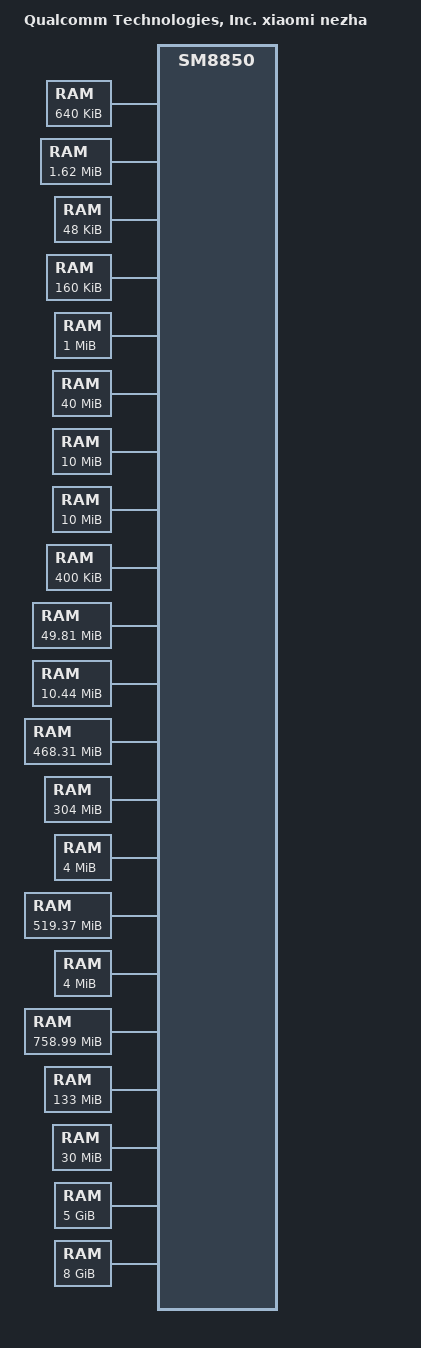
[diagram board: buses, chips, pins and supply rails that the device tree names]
// SPDX-License-Identifier: BSD-2-Clause-Patent
// Xiaomi 17 Ultra (nezha). Memory and reserved regions from the N0 live DT (2026-10-26).
/dts-v1/;
/include/ "sm8850.dtsi"

/ {
    model = "Qualcomm Technologies, Inc. xiaomi nezha";
    compatible = "xiaomi,nezha", "qcom,kaanapali-mtp", "qcom,kaanapali", "qcom,mtp";
    chosen { stdout-path = "/display"; };
    // Follow sheng27's standard ADT export for the stock wifid job condition.
    // The board worker owns PCIe resources; this node adds no DMA or MMIO lease.
    wlan {
        compatible = "qcom,wcn7860";
        unixnu,adt-name = "wlan";
        status = "okay";
    };
    bluetooth {
        device_type = "bluetooth";
        compatible = "qcom,wcn7860-bt";
        unixnu,adt-name = "bluetooth";
        transport-encoding = <1>;
        transport-speed = <3200000>;
        status = "okay";
    };
    memory@81960000 {
        device_type = "memory";
        reg = <0x0 0x81960000 0x0 0xa0000>;
    };
    memory@81a60000 {
        device_type = "memory";
        reg = <0x0 0x81a60000 0x0 0x1a0000>;
    };
    memory@81cf4000 {
        device_type = "memory";
        reg = <0x0 0x81cf4000 0x0 0xc000>;
    };
    memory@82478000 {
        device_type = "memory";
        reg = <0x0 0x82478000 0x0 0x28000>;
    };
    memory@82600000 {
        device_type = "memory";
        reg = <0x0 0x82600000 0x0 0x100000>;
    };
    memory@82800000 {
        device_type = "memory";
        reg = <0x0 0x82800000 0x0 0x2800000>;
    };
    memory@8a000000 {
        device_type = "memory";
        reg = <0x0 0x8a000000 0x0 0xa00000>;
    };
    memory@98b00000 {
        device_type = "memory";
        reg = <0x0 0x98b00000 0x0 0xa00000>;
    };
    memory@9959c000 {
        device_type = "memory";
        reg = <0x0 0x9959c000 0x0 0x64000>;
    };
    memory@9ce80000 {
        device_type = "memory";
        reg = <0x0 0x9ce80000 0x0 0x31d0000>;
    };
    memory@a0910000 {
        device_type = "memory";
        reg = <0x0 0xa0910000 0x0 0xa70000>;
    };
    memory@a6980000 {
        device_type = "memory";
        reg = <0x0 0xa6980000 0x0 0x1d450000>;
    };
    memory@c4800000 {
        device_type = "memory";
        reg = <0x0 0xc4800000 0x0 0x13000000>;
    };
    memory@d7c00000 {
        device_type = "memory";
        reg = <0x0 0xd7c00000 0x0 0x400000>;
    };
    memory@deca0000 {
        device_type = "memory";
        reg = <0x0 0xdeca0000 0x0 0x2075f800>;
    };
    memory@ff400000 {
        device_type = "memory";
        reg = <0x0 0xff400000 0x0 0x400000>;
    };
    memory@880000000 {
        device_type = "memory";
        reg = <0x8 0x80000000 0x0 0x2f6fd000>;
    };
    memory@8b0000000 {
        device_type = "memory";
        reg = <0x8 0xb0000000 0x0 0x8500000>;
    };
    memory@8b8700000 {
        device_type = "memory";
        reg = <0x8 0xb8700000 0x0 0x1e00000>;
    };
    memory@8c0000000 {
        device_type = "memory";
        reg = <0x8 0xc0000000 0x1 0x40000000>;
    };
    memory@a00000000 {
        device_type = "memory";
        reg = <0xa 0x0 0x2 0x0>;
    };
    reserved-memory {
        #address-cells = <2>;
        #size-cells = <2>;
        ranges;
        gunyah_hyp_region@80000000 {
            reg = <0x0 0x80000000 0x0 0xe00000>;
            no-map;
        };
        reserved_region@80e00000 {
            reg = <0x0 0x80e00000 0x0 0x400000>;
            no-map;
        };
        cpucp_pdp_region@81200000 {
            reg = <0x0 0x81200000 0x0 0x200000>;
            no-map;
        };
        xbl_dtlog_region@81a00000 {
            reg = <0x0 0x81a00000 0x0 0x60000>;
            no-map;
        };
        aop_image_region@81c00000 {
            reg = <0x0 0x81c00000 0x0 0x60000>;
            no-map;
        };
        aop_cmd_db_region@81c60000 {
            reg = <0x0 0x81c60000 0x0 0x20000>;
            no-map;
        };
        aop_tme_uefi_merged_region@81c80000 {
            reg = <0x0 0x81c80000 0x0 0x74000>;
            no-map;
        };
        smem_region@81d00000 {
            reg = <0x0 0x81d00000 0x0 0x200000>;
            no-map;
        };
        pdp_ns_shared_region@81f00000 {
            reg = <0x0 0x81f00000 0x0 0x100000>;
            no-map;
        };
        cpucp_scandump_region@82000000 {
            reg = <0x0 0x82000000 0x0 0x380000>;
            no-map;
        };
        adsp_mhi_region@82380000 {
            reg = <0x0 0x82380000 0x0 0x20000>;
            no-map;
        };
        soccp_sdi_region@823a0000 {
            reg = <0x0 0x823a0000 0x0 0x40000>;
            no-map;
        };
        pmic_minii_dump_region@823e0000 {
            reg = <0x0 0x823e0000 0x0 0x80000>;
            no-map;
        };
        qup_fw_region@82460000 {
            reg = <0x0 0x82460000 0x0 0x18000>;
            no-map;
        };
        pvm_fw_region@824a0000 {
            reg = <0x0 0x824a0000 0x0 0x100000>;
            no-map;
        };
        tz_stat_region@82700000 {
            reg = <0x0 0x82700000 0x0 0x100000>;
            no-map;
        };
        qdss_apps_region@82800000 {
            reg = <0x0 0x82800000 0x0 0x2000000>;
            no-map;
        };
        dsm_partition_1_region@85000000 {
            reg = <0x0 0x85000000 0x0 0x4f00000>;
            no-map;
        };
        dsm_partition_2_region@89f00000 {
            reg = <0x0 0x89f00000 0x0 0x100000>;
            no-map;
        };
        mpss_region@8aa00000 {
            reg = <0x0 0x8aa00000 0x0 0xe100000>;
            no-map;
        };
        q6_mpss_dtb_region@99500000 {
            reg = <0x0 0x99500000 0x0 0x80000>;
            no-map;
        };
        ipa_fw_region@99580000 {
            reg = <0x0 0x99580000 0x0 0x10000>;
            no-map;
        };
        ipa_gsi_region@99590000 {
            reg = <0x0 0x99590000 0x0 0xa000>;
            no-map;
        };
        gpu_microcode_region@9959a000 {
            reg = <0x0 0x9959a000 0x0 0x2000>;
            no-map;
        };
        camera_region@99600000 {
            reg = <0x0 0x99600000 0x0 0x800000>;
            no-map;
        };
        camera_2_region@99e00000 {
            reg = <0x0 0x99e00000 0x0 0x800000>;
            no-map;
        };
        video_region@9a600000 {
            reg = <0x0 0x9a600000 0x0 0x800000>;
            no-map;
        };
        cvp_region@9ae00000 {
            reg = <0x0 0x9ae00000 0x0 0x700000>;
            no-map;
        };
        cdsp_region@9b500000 {
            reg = <0x0 0x9b500000 0x0 0x1900000>;
            no-map;
        };
        q6_cdsp_dtb_region@9ce00000 {
            reg = <0x0 0x9ce00000 0x0 0x80000>;
            no-map;
        };
        dcp_dtb_region@a0050000 {
            reg = <0x0 0xa0050000 0x0 0x80000>;
            no-map;
        };
        dcp_region@a00d0000 {
            reg = <0x0 0xa00d0000 0x0 0x300000>;
            no-map;
        };
        soccp_region@a03d0000 {
            reg = <0x0 0xa03d0000 0x0 0x500000>;
            no-map;
        };
        soccp_dtb_region@a08d0000 {
            reg = <0x0 0xa08d0000 0x0 0x40000>;
            no-map;
        };
        q6_adsp_dtb_region@a1380000 {
            reg = <0x0 0xa1380000 0x0 0x80000>;
            no-map;
        };
        adspslpi_region@a1400000 {
            reg = <0x0 0xa1400000 0x0 0x5580000>;
            no-map;
        };
        hypervisor_extended_heap_region@c3dd0000 {
            reg = <0x0 0xc3dd0000 0x0 0xa30000>;
            no-map;
        };
        xbl_ramdump_region@d7800000 {
            reg = <0x0 0xd7800000 0x0 0x200000>;
            no-map;
        };
        global_sync_region@d7a00000 {
            reg = <0x0 0xd7a00000 0x0 0x200000>;
            no-map;
        };
        tz_merged_region@d8000000 {
            reg = <0x0 0xd8000000 0x0 0x800000>;
            no-map;
        };
        trust_ui_vm_region@f3800000 {
            reg = <0x0 0xf3800000 0x0 0x5000000>;
            no-map;
        };
        oem_vm_region@f8800000 {
            reg = <0x0 0xf8800000 0x0 0x3800000>;
            no-map;
        };
        shm@fc200000 {
            reg = <0x0 0xfc200000 0x0 0x400000>;
            no-map;
        };
        splash_region@fc800000 {
            reg = <0x0 0xfc800000 0x0 0x2b00000>;
            no-map;
        };
        dump_display_region@ff3ff800 {
            reg = <0x0 0xff3ff800 0x0 0x800>;
            no-map;
        };
        ramoops_region@ff400000 {
            reg = <0x0 0xff400000 0x0 0x200000>;
            no-map;
        };
        llcc_lpi_region@ff800000 {
            reg = <0x0 0xff800000 0x0 0x800000>;
            no-map;
        };
        lcp_dare_region@880000000 {
            reg = <0x8 0x80000000 0x0 0x6000000>;
            no-map;
        };
    };
};

&cpu0 { status = "okay"; };
&cpu1 { status = "okay"; };
&cpu2 { status = "okay"; };
&cpu3 { status = "okay"; };
&cpu4 { status = "okay"; };
&cpu5 { status = "okay"; };
&cpu6 { status = "okay"; };
&cpu7 { status = "okay"; };


// XNU12377 requires an explicit scheduler cluster class. Reuse the upstream
// E/P property exported by devicetree.py (as sheng27 does). SM8850 uses Oryon
// cores; this cpus=1 bring-up starts with a logical P class for every node.
// It does not claim heterogeneous scheduling/frequency validation.
&cpu0 { unixnu,cluster-type = "P"; };
&cpu1 { unixnu,cluster-type = "P"; };
&cpu2 { unixnu,cluster-type = "P"; };
&cpu3 { unixnu,cluster-type = "P"; };
&cpu4 { unixnu,cluster-type = "P"; };
&cpu5 { unixnu,cluster-type = "P"; };
&cpu6 { unixnu,cluster-type = "P"; };
&cpu7 { unixnu,cluster-type = "P"; };
